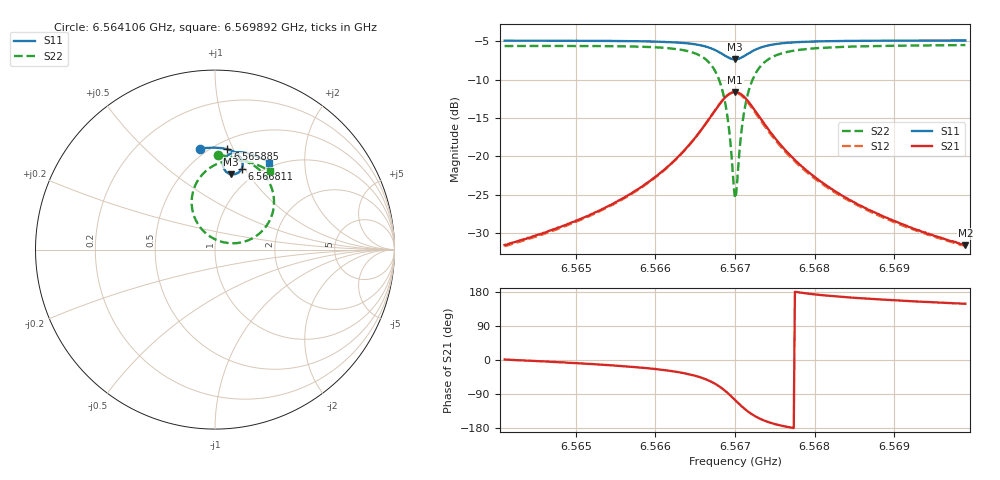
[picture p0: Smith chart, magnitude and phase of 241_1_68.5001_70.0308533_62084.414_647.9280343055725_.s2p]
#  HZ  S  RI  R  50.00
! Rohde & Schwarz Vector Network Analyzer
! Rohde-Schwarz,ZNB20-2Port,1311601062101988,3.16
! Created: UTC 3/20/2024, 4:59:21 PM
! freq[Hz]  re:S11  im:S11  re:S21  im:S21  re:S12  im:S12  re:S22  im:S22
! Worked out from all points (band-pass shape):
!   401 points, 6.564106 GHz to 6.569892 GHz, reference 50 ohm
!   highest |S21| = -11.59 dB at 6.566999 GHz (marker M1); lowest = -31.6 dB at 6.569892 GHz (marker M2)
!   |S21| within 3 dB of the highest: 6.566709 GHz to 6.567288 GHz (578.7 kHz wide, 0.00881 % of centre)
!   lowest |S11| = -7.3 dB at 6.566999 GHz (marker M3), VSWR 2.50, Z = 40.4 + j41.6 ohm
!   |S11| at or under -10 dB: nowhere
!   |S22| runs from -25.5 to -5.5 dB; largest |S21 - S12| = 0.012
!   S11 on the Smith chart (normalised r, x): 6.564106 GHz: 0.45, +0.76; 6.565885 GHz: 0.58, +0.95; 6.566811 GHz: 0.83, +0.97; 6.569892 GHz: 0.93, +1.34
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6.564106e9  -0.082 0.5632  0.0263 0.00071  0.0259 2.97e-05  0.0169 0.5249
6.5650752e9  -0.00358 0.568  0.0389 -0.00621  0.0382 -0.00685  0.1058 0.5144
6.5658853e9  0.0696 0.5589  0.062 -0.0243  0.061 -0.0249  0.2032 0.4767
6.5660445e9  0.0857 0.5539  0.0694 -0.0323  0.0684 -0.0331  0.2281 0.4602
6.5663627e9  0.121 0.5359  0.0895 -0.0626  0.0881 -0.0639  0.2865 0.4003
6.5665797e9  0.1455 0.5089  0.1026 -0.1094  0.1002 -0.1114  0.3246 0.3102
6.5667099e9  0.1542 0.4807  0.0982 -0.1586  0.0942 -0.1615  0.3236 0.2158
6.5668112e9  0.149 0.4514  0.0718 -0.209  0.0654 -0.2117  0.2782 0.1212
6.566898e9  0.1285 0.4278  0.0199 -0.2479  0.0103 -0.2485  0.1839 0.0513
6.5669269e9  0.1179 0.4226  -0.00388 -0.2554  -0.0143 -0.2545  0.1409 0.0388
6.5669848e9  0.0937 0.4192  -0.0568 -0.2566  -0.0673 -0.2521  0.0471 0.041
6.5669992e9  0.0874 0.4204  -0.07 -0.2538  -0.0804 -0.2483  0.024 0.0475
6.5670282e9  0.0757 0.4244  -0.0953 -0.244  -0.1048 -0.2366  -0.0189 0.0676
6.567086e9  0.0568 0.4394  -0.1362 -0.2121  -0.1429 -0.2023  -0.0856 0.1287
6.5671294e9  0.0482 0.454  -0.1562 -0.1823  -0.1602 -0.172  -0.1152 0.183
6.5671873e9  0.0446 0.4741  -0.1685 -0.1426  -0.1698 -0.1327  -0.1298 0.2538
6.5672596e9  0.0486 0.4959  -0.1682 -0.1  -0.1671 -0.0918  -0.1212 0.3273
6.56752e9  0.0876 0.5346  -0.1261 -0.0217  -0.1234 -0.0182  -0.0254 0.4573
6.5679685e9  0.1461 0.5424  -0.075 0.00798  -0.0733 0.00915  0.0948 0.4969
6.5684024e9  0.1887 0.5347  -0.0516 0.0131  -0.0504 0.0138  0.1639 0.4928
6.5689377e9  0.2334 0.5195  -0.0362 0.0143  -0.0354 0.0146  0.224 0.4767
6.5698925e9  0.3024 0.4844  -0.0224 0.0138  -0.0219 0.0139  0.3038 0.4377
